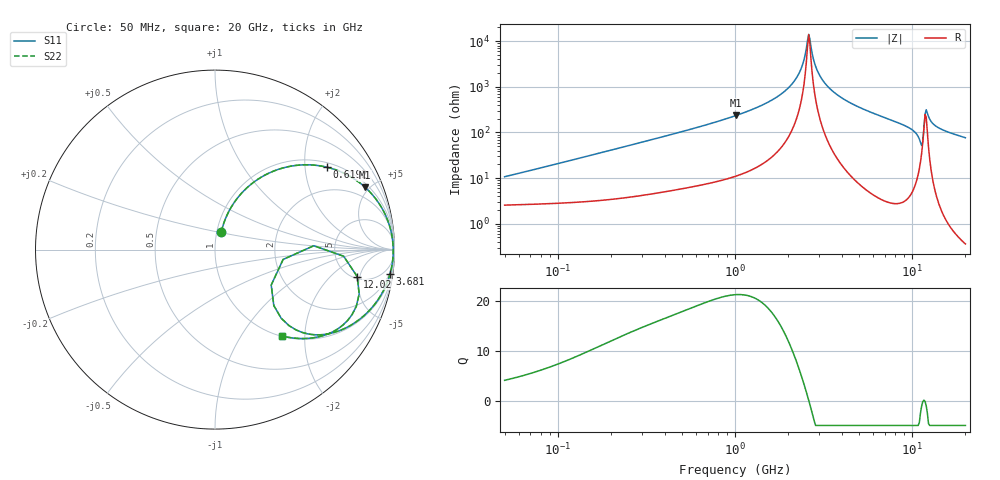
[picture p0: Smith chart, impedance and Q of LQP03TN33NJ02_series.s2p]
!Murata Part Number: LQP03TN33NJ02
!These Parameters are Measured in Series Mode Connection
!  o--[Z]--o
!Port1  Port2
!  o-------o
!Freq. Start=50[MHz] Stop=20[GHz], 401[Steps]
# Hz S RI R 50
!Freq.(Hz) S11(Real) S11(Imag) S21(Real) S21(Imag) S12(Real) S12(Imag) S22(Real) S22(Imag)
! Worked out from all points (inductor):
!   401 points, 50 MHz to 20 GHz, reference 50 ohm
!   read as one part in series: L = 32.9 nH near 51.52 MHz
!   highest Q = 21.3 at 1.015 GHz (marker M1), where L = 36.9 nH
!   self-resonance near 2.608 GHz
!   S11 on the Smith chart (normalised r, x): 50 MHz: 1.05, +0.21; 619.2 MHz: 1.14, +2.61; 3.681 GHz: 2, -14; 12.02 GHz: 5.32, -4.58; 20 GHz: 1.01, -1.53
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5e7  0.0348 0.0978  0.9652 -0.0978  0.9652 -0.0978  0.0348 0.0978
1.364002e8  0.096 0.2458  0.904 -0.2458  0.904 -0.2458  0.096 0.2458
3.721004e8  0.3772 0.4545  0.6228 -0.4545  0.6228 -0.4545  0.3772 0.4545
6.192061e8  0.6245 0.4588  0.3755 -0.4588  0.3755 -0.4588  0.6245 0.4588
1e9  0.8311 0.3519  0.1689 -0.3519  0.1689 -0.3519  0.8311 0.3519
1.015091e9  0.8364 0.3472  0.1636 -0.3472  0.1636 -0.3472  0.8364 0.3472
1.875929e9  0.9742 0.1269  0.0258 -0.1269  0.0258 -0.1269  0.9742 0.1269
2.279204e9  0.9894 0.0523  0.0106 -0.0523  0.0106 -0.0523  0.9894 0.0523
2.419936e9  0.9917 0.0292  0.00831 -0.0292  0.00831 -0.0292  0.9917 0.0292
2.569357e9  0.9928 0.0061  0.00717 -0.0061  0.00717 -0.0061  0.9928 0.0061
2.647493e9  0.993 -0.00548  0.00702 0.00548  0.00702 0.00548  0.993 -0.00548
2.728004e9  0.9928 -0.0171  0.00715 0.0171  0.00715 0.0171  0.9928 -0.0171
3.029571e9  0.9902 -0.0578  0.00983 0.0578  0.00983 0.0578  0.9902 -0.0578
3.680849e9  0.9756 -0.1341  0.0244 0.1341  0.0244 0.1341  0.9756 -0.1341
7.442007e9  0.7857 -0.403  0.2143 0.403  0.2143 0.403  0.7857 -0.403
1.019291e10  0.5385 -0.473  0.4615 0.473  0.4615 0.473  0.5385 -0.473
1.115139e10  0.3277 -0.312  0.6723 0.312  0.6723 0.312  0.3277 -0.312
1.166392e10  0.5504 0.0214  0.4496 -0.0214  0.4496 -0.0214  0.5504 0.0214
1.201863e10  0.7925 -0.1504  0.2075 0.1504  0.2075 0.1504  0.7925 -0.1504
1.257102e10  0.7639 -0.3621  0.2361 0.3621  0.2361 0.3621  0.7639 -0.3621
1.354865e10  0.6563 -0.4578  0.3437 0.4578  0.3437 0.4578  0.6563 -0.4578
2e10  0.3712 -0.4808  0.6288 0.4808  0.6288 0.4808  0.3712 -0.4808
